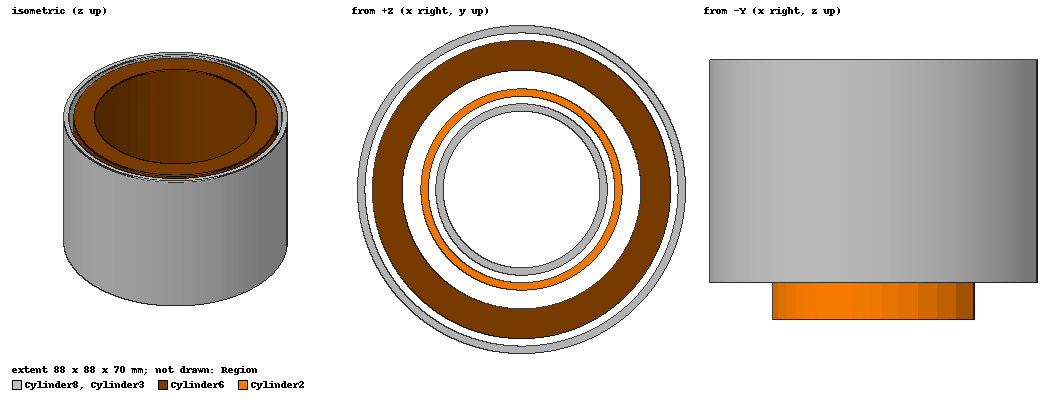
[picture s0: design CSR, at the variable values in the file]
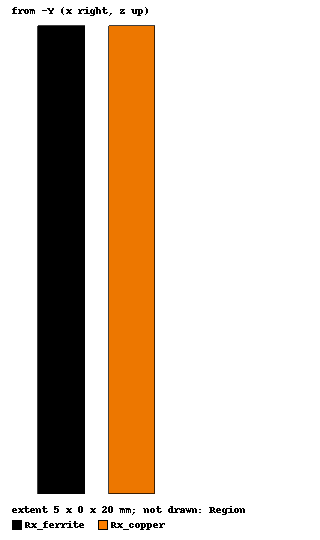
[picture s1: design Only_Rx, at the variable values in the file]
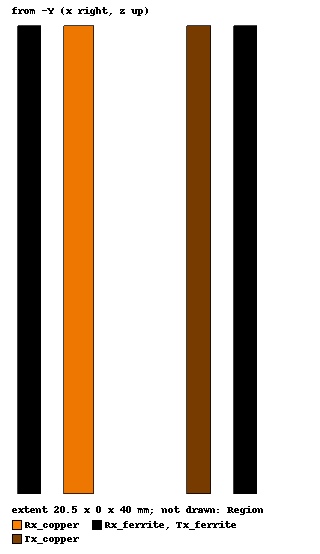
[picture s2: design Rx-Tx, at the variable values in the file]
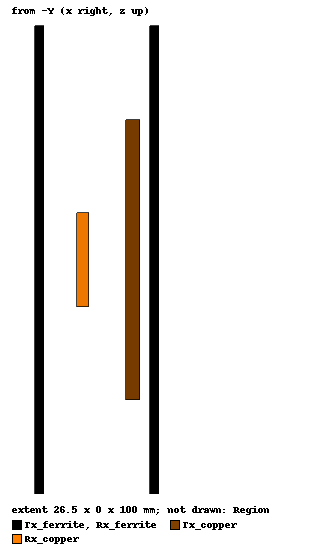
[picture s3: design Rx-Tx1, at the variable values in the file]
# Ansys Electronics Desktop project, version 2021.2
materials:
  vacuum: permittivity=1
  copper: permeability=0.999991 conductivity=58000000
  ferrite: permittivity=12 permeability=1000 conductivity=0.01

design CSR (Maxwell 3D, Magnetostatic, model units mm)
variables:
  zrx_copper = 0
  yrx_copper = 0
  xrx_copper = 0
  r_rx_copper = 25mm
  copper_height = 2mm
  copper_width = 2mm
  rx_layer = 1
  N_rx = 7
  air_rx_ferrite = 2mm
  ferrite_height = 15mm
  ferrite_width = 2mm
  misalingnment = 10mm
  airgap = 5mm
  N_tx = 30
  tx_layer = 4
  air_tx_ferrite = 2mm
  ferrite_height_Tx = 60mm
  Rx_current = 15A
  Tx_current = 3A
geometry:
  coordinate_system Rx-copper = origin=(xrx_copper, yrx_copper, zrx_copper) x=(1mm, 0mm, 0mm) y=(0mm, 1mm, 0mm)
  Cylinder1 = cylinder(axis=Z, base_centre=(0mm, 0mm, 0mm), radius=r_rx_copper, height=copper_height*N_rx) in Rx-copper
  Cylinder2 [copper] = cylinder(axis=Z, base_centre=(0mm, 0mm, 0mm), radius=r_rx_copper+ (copper_width* rx_layer), height=copper_height*N_rx) in Rx-copper
  Cylinder2.subtract(Cylinder1)
  Rx_section = Cylinder2.section(plane=YZ) in Rx-copper
  Rx_section.separate_bodies()
  Cylinder3 [ferrite] = cylinder(axis=Z, base_centre=(0mm, 0mm, 0mm), radius=r_rx_copper-air_rx_ferrite, height=ferrite_height) in Rx-copper
  Cylinder4 = cylinder(axis=Z, base_centre=(0mm, 0mm, 0mm), radius=r_rx_copper-air_rx_ferrite-ferrite_width, height=ferrite_height) in Rx-copper
  Cylinder3.subtract(Cylinder4)
  coordinate_system Tx-copper = origin=(0mm, 0mm, misalingnment) x=(1mm, 0mm, 0mm) y=(0mm, 1mm, 0mm) in Rx-copper
  Cylinder5 = cylinder(axis=Z, base_centre=(0mm, 0mm, 0mm), radius=r_rx_copper+ (copper_width* rx_layer)+airgap, height=copper_height*N_tx) in Tx-copper
  Cylinder6 [copper] = cylinder(axis=Z, base_centre=(0mm, 0mm, 0mm), radius=r_rx_copper+ (copper_width* rx_layer)+airgap+(tx_layer*copper_width), height=N_tx*copper_height) in Tx-copper
  Cylinder6.subtract(Cylinder5)
  Tx_section = Cylinder6.section(plane=YZ) in Tx-copper
  Tx_section.separate_bodies()
  Cylinder7 = cylinder(axis=Z, base_centre=(0mm, 0mm, 0mm), radius=r_rx_copper+ (copper_width* rx_layer)+airgap+(tx_layer*copper_width)+air_tx_ferrite, height=ferrite_height_Tx) in Tx-copper
  Cylinder8 [ferrite] = cylinder(axis=Z, base_centre=(0mm, 0mm, 0mm), radius=r_rx_copper+ (copper_width* rx_layer)+airgap+(tx_layer*copper_width)+air_tx_ferrite+ferrite_width, height=ferrite_height_Tx) in Tx-copper
  Cylinder8.subtract(Cylinder7)
  Region [vacuum] = region(percentage_offset=100 on all sides) in Tx-copper
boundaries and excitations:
  Insulating1: Insulating Objects=Cylinder2
  Insulating2: Insulating Faces=Cylinder6.face(3 of 3)
  Current1: Current Objects=Rx_section Current=Rx_current IsSolid=false Point_out_of_terminal=false
  Current2: Current Objects=Tx_section Current=Tx_current IsSolid=false Point_out_of_terminal=false
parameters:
  Inductance_matrix: Matrix Current1: NumberOfTurns=N_rx*rx_layer; Current2: NumberOfTurns=N_tx*tx_layer
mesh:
  Length1: LengthBased Objects=[Cylinder2, Rx_section, Cylinder3, Cylinder6, Tx_section, Cylinder8, Region] MaxLength=10mm
  initial mesh: GlobalCurvilinear{Apply}
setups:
  Setup1: Magnetostatic MaximumPasses=10 MinimumPasses=2 MinimumConvergedPasses=1 PercentRefinement=30 PercentError=1 NonLinearResidual=0.001
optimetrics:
  ParametricSetup1: Parametric Sim._Setups=[Setup1]
    sweep misalingnment: LIN 0mm 10mm 2mm

design Only_Rx (Maxwell 2D, Magnetostatic, about Z geometry, model units mm)
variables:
  Rx_startX = 20mm
  Rx_width = 2mm
  Rx_height = 20mm
  ferrite_Rx_startX = 17mm
  ferrite_Rx_width = 2mm
  ferrite_Rx_height = 20mm
  Rx_current = 5A
  N_rx = 8
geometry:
  Rx_copper [copper] = rectangle(corner=(Rx_startX, 0mm, 0mm), z_size=Rx_height, x_size=Rx_width)
  Rx_ferrite [ferrite] = rectangle(corner=(ferrite_Rx_startX, 0mm, 0mm), z_size=ferrite_Rx_height, x_size=ferrite_Rx_width)
  Region [vacuum] = region(percentage_offset: +X=200, -X=200, +Y=0, -Y=0, +Z=200, -Z=200)
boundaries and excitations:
  Balloon1: Balloon Edges=Region.edge(all 4)
  Current1: Current Objects=Rx_copper Current=Rx_current IsPositive=true
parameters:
  Matrix1: Matrix Current1: NumberOfTurns=N_rx
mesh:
  initial mesh: MeshMethod=AnsoftTAU
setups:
  OnlyRx: Magnetostatic MaximumPasses=10 MinimumPasses=2 MinimumConvergedPasses=1 PercentRefinement=30 PercentError=1 NonLinearResidual=0.0001

design Rx-Tx (Maxwell 2D, Magnetostatic, about Z geometry, model units mm)
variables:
  Rx_startX = 20mm
  Rx_width = 2.5mm
  Rx_height = 40mm
  ferrite_Rx_startX = Rx_startX-ferrite_Rx_width-ferrite_Rx_width
  ferrite_Rx_width = 2mm
  ferrite_Rx_height = 40mm
  Rx_current = 40A
  Tx_startX = Rx_startX+Rx_width+airgap
  Tx_width = 2mm
  Tx_height = 40mm
  ferrite_Tx_startX = Tx_startX+Tx_width+gapTxFerrite
  ferrite_Tx_width = 2mm
  ferrite_Tx_height = 40mm
  misal = 0mm
  airgap = 8mm
  gapTxFerrite = 2mm
  gapRxFerrite = 2mm
  Tx_current = 200A
  ferrite_Tx_startZ = 0mm
  N_rx = 8
  Nrx = 8
  N_tx = 100
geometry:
  Rx_copper [copper] = rectangle(corner=(Rx_startX, 0mm, 0mm), z_size=Rx_height, x_size=Rx_width)
  Rx_ferrite [ferrite] = rectangle(corner=(ferrite_Rx_startX, 0mm, 0mm), z_size=ferrite_Rx_height, x_size=ferrite_Rx_width)
  Tx_copper [copper] = rectangle(corner=(Tx_startX, 0mm, misal), z_size=Tx_height, x_size=Tx_width)
  Tx_ferrite [ferrite] = rectangle(corner=(ferrite_Tx_startX, 0mm, misal+ferrite_Tx_startZ), z_size=ferrite_Tx_height, x_size=ferrite_Tx_width)
  Region [vacuum] = region(percentage_offset: +X=200, -X=200, +Y=0, -Y=0, +Z=200, -Z=200)
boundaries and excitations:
  Balloon1: Balloon Edges=Region.edge(all 4)
  Current1: Current Objects=Rx_copper Current=Rx_current IsPositive=true
  Current2: Current Objects=Tx_copper Current=Tx_current IsPositive=false
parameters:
  Matrix1: Matrix Current1: NumberOfTurns=N_rx; Current2: NumberOfTurns=N_tx
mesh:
  initial mesh: MeshMethod=AnsoftTAU
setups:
  TxRx: Magnetostatic MaximumPasses=10 MinimumPasses=2 MinimumConvergedPasses=1 PercentRefinement=30 PercentError=1 NonLinearResidual=0.0001
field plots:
  B_Vector1: B over Rx_copper, Rx_ferrite, Region, Tx_copper, Tx_ferrite on TxRx : LastAdaptive

design Rx-Tx1 (Maxwell 2D, Magnetostatic, about Z geometry, model units mm)
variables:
  Rx_startX = 30mm
  Rx_width = 2.5mm
  Rx_height = 20mm
  ferrite_Rx_startX = Rx_startX-ferrite_Rx_width-ferrite_Rx_width-gapRxFerrite
  ferrite_Rx_width = 2mm
  ferrite_Rx_height = 100mm
  Rx_current = 40A
  Tx_startX = Rx_startX+Rx_width+airgap
  Tx_width = 3mm
  Tx_height = 60mm
  ferrite_Tx_startX = Tx_startX+Tx_width+gapTxFerrite
  ferrite_Tx_width = 2mm
  ferrite_Tx_height = 100mm
  misal = -20mm
  airgap = 8mm
  gapTxFerrite = 2mm
  gapRxFerrite = 5mm
  Tx_current = 200A
  ferrite_Tx_startZ = -40mm
  Rx_startZ = 0
  ferrite_Rx_startZ = -40mm
  N_rx = 5
  Nrx = 8
  N_tx = 92
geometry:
  Rx_copper [copper] = rectangle(corner=(Rx_startX, 0mm, Rx_startZ), z_size=Rx_height, x_size=Rx_width)
  Rx_ferrite [ferrite] = rectangle(corner=(ferrite_Rx_startX, 0mm, ferrite_Rx_startZ), z_size=ferrite_Rx_height, x_size=ferrite_Rx_width)
  Tx_copper [copper] = rectangle(corner=(Tx_startX, 0mm, misal), z_size=Tx_height, x_size=Tx_width)
  Tx_ferrite [ferrite] = rectangle(corner=(ferrite_Tx_startX, 0mm, ferrite_Tx_startZ), z_size=ferrite_Tx_height, x_size=ferrite_Tx_width)
  Region [vacuum] = region(percentage_offset: +X=200, -X=200, +Y=0, -Y=0, +Z=200, -Z=200)
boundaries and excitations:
  Balloon1: Balloon Edges=Region.edge(all 4)
  Current1: Current Objects=Rx_copper Current=Rx_current IsPositive=true
  Current2: Current Objects=Tx_copper Current=Tx_current IsPositive=false
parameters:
  Matrix1: Matrix Current1: NumberOfTurns=N_rx; Current2: NumberOfTurns=N_tx
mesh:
  initial mesh: MeshMethod=AnsoftTAU
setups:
  TxRx: Magnetostatic MaximumPasses=10 MinimumPasses=2 MinimumConvergedPasses=1 PercentRefinement=30 PercentError=1 NonLinearResidual=0.0001
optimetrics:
  ParametricSetup1: Parametric Sim._Setups=[TxRx]
    sweep airgap: LIN 8mm 14mm 2mm
